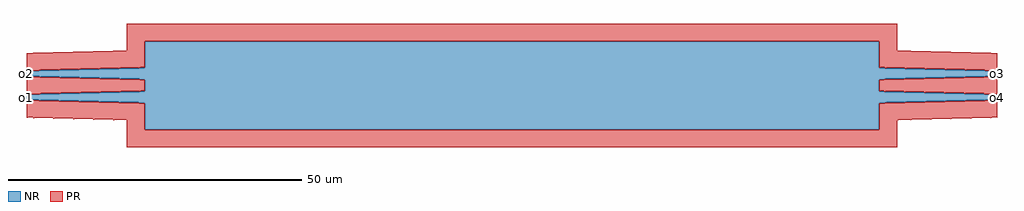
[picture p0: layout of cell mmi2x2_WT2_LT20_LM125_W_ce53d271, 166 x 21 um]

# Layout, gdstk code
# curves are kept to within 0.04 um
from math import pi, radians
import gdstk
lib = gdstk.Library(unit=1e-6, precision=1e-09)
def R(c, l, rs):  # rectangles x0, y0, x1, y1
    for r in rs: c.add(gdstk.rectangle(r[:2], r[2:], *l))
def P(c, l, *ps):  # polygons
    for p in ps: c.add(gdstk.Polygon(p, *l))
PR = (60, 0)
NR = (61, 0)

unnamed_1_1 = lib.new_cell('Unnamed_1$1')

ng_4 = lib.new_cell('ng_4')

ps_6 = lib.new_cell('ps_6')

taper_l20_w1_w2_b3 = lib.new_cell('taper_L20_W1_W2_B3')
taper_l20_w1_w2_b3.add(gdstk.Reference(unnamed_1_1, (0,0)))
taper_l20_w1_w2_b3.add(gdstk.Reference(ng_4, (0,0)))
taper_l20_w1_w2_b3.add(gdstk.Reference(ps_6, (0,0)))

unnamed_0_1 = lib.new_cell('Unnamed_0$1')
unnamed_0_1.add(gdstk.Reference(taper_l20_w1_w2_b3, (145,-2), rotation=pi))
unnamed_0_1.add(gdstk.Reference(taper_l20_w1_w2_b3, (145,2), rotation=pi))
unnamed_0_1.add(gdstk.Reference(taper_l20_w1_w2_b3, (-20,-2)))
unnamed_0_1.add(gdstk.Reference(taper_l20_w1_w2_b3, (-20,2)))

ng_10 = lib.new_cell('ng_10')
R(ng_10, NR, [(0,-7.5,125,7.5)])
P(ng_10, NR, [(125,-3),(125,-1),(145,-1.5),(145,-2.5)],
  [(125,1),(125,3),(145,2.5),(145,1.5)],
  [(0,-3),(-20,-2.5),(-20,-1.5),(0,-1)],
  [(0,1),(-20,1.5),(-20,2.5),(0,3)])

ps_12 = lib.new_cell('ps_12')
P(ps_12, PR, [(-20,2.5),(-20,5.5),(-3,5.925),(-3,10.5),(128,10.5),(128,5.925),(145,5.5),(145,2.5),(125,3),(125,7.5),(0,7.5),(0,3)],
  [(145,-1.5),(125,-1),(125,1),(145,1.5)],
  [(-20,-1.5),(-20,1.5),(0,1),(0,-1)],
  [(-3,-10.5),(-3,-5.925),(-20,-5.5),(-20,-2.5),(0,-3),(0,-7.5),(125,-7.5),(125,-3),(145,-2.5),(145,-5.5),(128,-5.925),(128,-10.5)])

mmi2x2_wt2_lt20_lm125_w_ = lib.new_cell('mmi2x2_WT2_LT20_LM125_W_ce53d271')
P(mmi2x2_wt2_lt20_lm125_w_, NR, [(145,-2.5),(145,-2),(145.05,-2),(145.05,-2.375),(145.43,-2),(145,-2),(145,-1.5),(145.5,-2)],
  [(145,1.5),(145,2),(145.05,2),(145.05,1.625),(145.43,2),(145,2),(145,2.5),(145.5,2)],
  [(-20,-2.5),(-20.5,-2),(-20.125,-1.625),(-20.05,-1.625),(-20.43,-2),(-20.05,-2),(-20.05,-1.625),(-20.125,-1.625),(-20,-1.5)],
  [(-20,1.5),(-20.5,2),(-20.125,2.375),(-20.05,2.375),(-20.43,2),(-20.05,2),(-20.05,2.375),(-20.125,2.375),(-20,2.5)])
mmi2x2_wt2_lt20_lm125_w_.add(gdstk.Reference(unnamed_0_1, (0,0)))
mmi2x2_wt2_lt20_lm125_w_.add(gdstk.Reference(ng_10, (0,0)))
mmi2x2_wt2_lt20_lm125_w_.add(gdstk.Reference(ps_12, (0,0)))
mmi2x2_wt2_lt20_lm125_w_.add(gdstk.Label('o4', (145,-2), layer=61, texttype=0))
mmi2x2_wt2_lt20_lm125_w_.add(gdstk.Label('o3', (145,2), layer=61, texttype=0))
mmi2x2_wt2_lt20_lm125_w_.add(gdstk.Label('o2', (-20,2), layer=61, texttype=0))
mmi2x2_wt2_lt20_lm125_w_.add(gdstk.Label('o1', (-20,-2), layer=61, texttype=0))

lib.write_gds('mmi2x2_WT2_LT20_LM125_W_ce53d271.gds')
